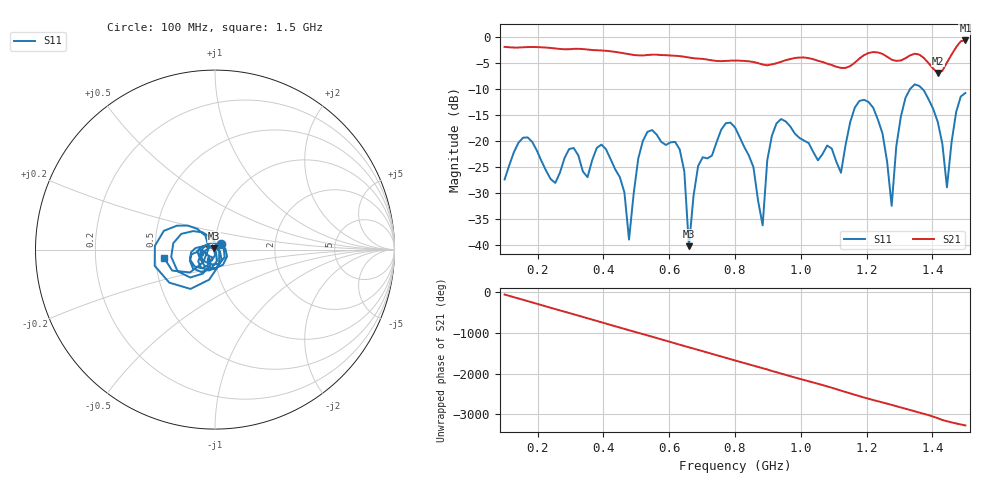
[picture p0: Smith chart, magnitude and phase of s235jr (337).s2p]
! NanoVNA-App
! Date: 2025-09-25 15:06:47
! Start: 100MHz Stop: 1,5GHz Points: 101
! S-Parameter data: F S11 S21 S12 S22
# Hz S RI R 50
!  Frequency  S11_Real  S11_Imag  S21_Real  S21_Imag  S12_Real  S12_Imag  S22_Real  S22_Imag
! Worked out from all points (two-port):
!   101 points, 100 MHz to 1.5 GHz, reference 50 ohm
!   highest |S21| = -0.72 dB at 1.5 GHz (marker M1); lowest = -7.0 dB at 1.416 GHz (marker M2)
!   |S21| within 3 dB of the highest: start of sweep to 629.3 MHz; 1.188 GHz to 1.259 GHz (70.49 MHz wide, 5.76 % of centre) (the widest 2 of 4)
!   lowest |S11| = -40.3 dB at 660 MHz (marker M3), VSWR 1.02, Z = 49.3 + j0.614 ohm
!   |S11| at or under -10 dB: start of sweep to 1.333 GHz; 1.368 GHz to end of sweep
!   S12 and S22 are empty: the file has one direction only
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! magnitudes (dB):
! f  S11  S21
! 100 MHz  -27.5  -2.0
! 156 MHz  -19.4  -2.0
! 338 MHz  -26.0  -2.4
! 408 MHz  -21.7  -2.7
! 478 MHz  -39.0  -3.4
! 520 MHz  -20.1  -3.6
! 576 MHz  -20.2  -3.5
! 632 MHz  -21.7  -3.7
! 660 MHz  -40.3  -4.0
! 688 MHz  -24.9  -4.2
! 800 MHz  -17.5  -4.6
! 884 MHz  -36.3  -5.4
! 926 MHz  -16.7  -5.1
! 1.038 GHz  -22.2  -4.3
! 1.122 GHz  -26.2  -6.0
! 1.206 GHz  -12.6  -3.1
! 1.248 GHz  -18.6  -3.3
! 1.276 GHz  -32.5  -4.4
! 1.332 GHz  -10.1  -3.6
! 1.416 GHz  -16.4  -7.0
! 1.444 GHz  -29.0  -5.0
! 1.5 GHz  -10.8  -0.7
